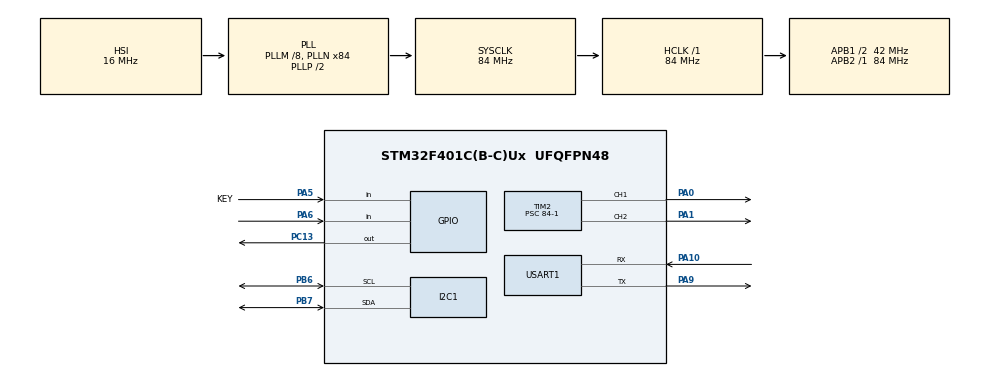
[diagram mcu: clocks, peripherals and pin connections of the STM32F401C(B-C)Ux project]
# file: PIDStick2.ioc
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Dma.Request0=USART1_RX
Dma.Request1=USART1_TX
Dma.USART1_RX.0.Direction=DMA_PERIPH_TO_MEMORY
Dma.USART1_RX.0.FIFOMode=DMA_FIFOMODE_DISABLE
Dma.USART1_RX.0.Instance=DMA2_Stream2
Dma.USART1_RX.0.MemDataAlignment=DMA_MDATAALIGN_BYTE
Dma.USART1_RX.0.MemInc=DMA_MINC_ENABLE
Dma.USART1_RX.0.Mode=DMA_NORMAL
Dma.USART1_RX.0.PeriphDataAlignment=DMA_PDATAALIGN_BYTE
Dma.USART1_RX.0.PeriphInc=DMA_PINC_DISABLE
Dma.USART1_RX.0.Priority=DMA_PRIORITY_LOW
Dma.USART1_TX.1.Direction=DMA_MEMORY_TO_PERIPH
Dma.USART1_TX.1.FIFOMode=DMA_FIFOMODE_DISABLE
Dma.USART1_TX.1.Instance=DMA2_Stream7
Dma.USART1_TX.1.MemDataAlignment=DMA_MDATAALIGN_BYTE
Dma.USART1_TX.1.MemInc=DMA_MINC_ENABLE
Dma.USART1_TX.1.Mode=DMA_NORMAL
Dma.USART1_TX.1.PeriphDataAlignment=DMA_PDATAALIGN_BYTE
Dma.USART1_TX.1.PeriphInc=DMA_PINC_DISABLE
Dma.USART1_TX.1.Priority=DMA_PRIORITY_LOW
I2C1.I2C_Mode=I2C_Fast
Mcu.Family=STM32F4
Mcu.Name=STM32F401C(B-C)Ux
Mcu.Package=UFQFPN48
NVIC.DMA2_Stream2_IRQn=true\:1\:0\:true\:false\:true\:true\:true\:true
NVIC.DMA2_Stream7_IRQn=true\:1\:0\:true\:false\:true\:true\:true\:true
NVIC.I2C1_ER_IRQn=true\:1\:0\:true\:false\:true\:true\:true\:true
NVIC.I2C1_EV_IRQn=true\:1\:0\:true\:false\:true\:true\:true\:true
NVIC.PriorityGroup=NVIC_PRIORITYGROUP_4
NVIC.TIM5_IRQn=true\:0\:0\:true\:false\:true\:true\:true\:true
NVIC.USART1_IRQn=true\:0\:0\:true\:false\:true\:false\:true\:true
PA0-WKUP.Signal=S_TIM2_CH1_ETR
PA1.Signal=S_TIM2_CH2
PA10.Mode=Asynchronous
PA10.Signal=USART1_RX
PA13.Mode=Serial_Wire
PA13.Signal=SYS_JTMS-SWDIO
PA14.Mode=Serial_Wire
PA14.Signal=SYS_JTCK-SWCLK
PA2.GPIO_Speed=GPIO_SPEED_FREQ_VERY_HIGH
PA2.Signal=S_TIM2_CH3
PA3.GPIO_Speed=GPIO_SPEED_FREQ_VERY_HIGH
PA3.Signal=S_TIM2_CH4
PA5.GPIO_Label=KEY
PA5.GPIO_PuPd=GPIO_PULLUP
PA5.Signal=GPIO_Input
PA6.GPIO_PuPd=GPIO_PULLUP
PA6.Signal=GPIO_Input
PA9.Mode=Asynchronous
PA9.Signal=USART1_TX
PB6.Mode=I2C
PB6.Signal=I2C1_SCL
PB7.Mode=I2C
PB7.Signal=I2C1_SDA
PC13-ANTI_TAMP.GPIO_PuPd=GPIO_PULLUP
PC13-ANTI_TAMP.Signal=GPIO_Output
PH0\ -\ OSC_IN.Mode=HSE-External-Oscillator
PH0\ -\ OSC_IN.Signal=RCC_OSC_IN
PH1\ -\ OSC_OUT.Mode=HSE-External-Oscillator
PH1\ -\ OSC_OUT.Signal=RCC_OSC_OUT
ProjectManager.HeapSize=0x200
ProjectManager.StackSize=0x400
ProjectManager.TargetToolchain=CMake
RCC.48MHZClocksFreq_Value=42000000
RCC.AHBFreq_Value=84000000
RCC.APB1CLKDivider=RCC_HCLK_DIV2
RCC.APB1Freq_Value=42000000
RCC.APB1TimFreq_Value=84000000
RCC.APB2Freq_Value=84000000
RCC.APB2TimFreq_Value=84000000
RCC.CortexFreq_Value=84000000
RCC.HCLKFreq_Value=84000000
RCC.HSE_VALUE=25000000
RCC.HSI_VALUE=16000000
RCC.LSE_VALUE=32768
RCC.PLLM=8
RCC.PLLN=84
RCC.SYSCLKFreq_VALUE=84000000
RCC.SYSCLKSource=RCC_SYSCLKSOURCE_PLLCLK
RCC.VCOOutputFreq_Value=168000000
SH.S_TIM2_CH1_ETR.0=TIM2_CH1,PWM Generation1 CH1
SH.S_TIM2_CH2.0=TIM2_CH2,PWM Generation2 CH2
SH.S_TIM2_CH3.0=TIM2_CH3
SH.S_TIM2_CH4.0=TIM2_CH4
TIM2.Channel-PWM\ Generation1\ CH1=TIM_CHANNEL_1
TIM2.Channel-PWM\ Generation2\ CH2=TIM_CHANNEL_2
TIM2.OCFastMode_PWM-PWM\ Generation1\ CH1=TIM_OCFAST_ENABLE
TIM2.OCFastMode_PWM-PWM\ Generation2\ CH2=TIM_OCFAST_ENABLE
TIM2.Period=256-1
TIM2.Prescaler=84-1
TIM5.AutoReloadPreload=TIM_AUTORELOAD_PRELOAD_ENABLE
TIM5.Period=10000-1
TIM5.Prescaler=84-1
USART1.VirtualMode=VM_ASYNC
VP_TIM2_VS_ClockSourceINT.Mode=Internal
VP_TIM5_VS_ClockSourceINT.Mode=Internal
board=custom

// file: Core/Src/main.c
/* USER CODE BEGIN Header */
/**
 ******************************************************************************
 * @file           : main.c
 * @brief          : Main program body
 ******************************************************************************
 * @attention
 *
 * Copyright (c) 2024 STMicroelectronics.
 * All rights reserved.
 *
 * This software is licensed under terms that can be found in the LICENSE file
 * in the root directory of this software component.
 * If no LICENSE file comes with this software, it is provided AS-IS.
 *
 ******************************************************************************
 */
/* USER CODE END Header */
#include "main.h"
#include "dma.h"
#include "i2c.h"
#include "tim.h"
#include "usart.h"
#include "gpio.h"

/* USER CODE BEGIN Includes */
#include <string.h>
#include "stdio.h"
// #include "tgmath.h"
#include <math.h>
#include "motion/motion_types.h"
#include "motion/EKF.h"
#include "drv8833.h"
#include "mpu6500/mpu6500_fun.h"
#include "key.h"
/* USER CODE END Includes */

/* USER CODE BEGIN PTD */
extern DMA_HandleTypeDef hdma_usart1_rx;
extern DMA_HandleTypeDef hdma_usart1_tx;

struct __pid
{
    float Dst;
    float kp, ki, kd;
    float duty_of_pid;
    float err0;    // �??????????????????????????????????????初误差，用来计算变积�??????????????????????????????????????
    float err[3];  // 储存�??????????????????????????????????????近三个误�??????????????????????????????????????
    uint8_t ep;    // 指针指向�??????????????????????????????????????近误�??????????????????????????????????????
    uint8_t state; // 状�?�量，判断是否有之前误差（为了处理前两次数据处理�??????????????????????????????????????0
    float integral;
} pid;
/* USER CODE END PTD */

/* USER CODE BEGIN PD */
#define duty_of_G 147 // 和重力平衡的功率绝对值，可以考虑初始化时候测�??????????????????????????????????????
#define outMax 256    // 总输出绝对�?�达到该值，只累加正/负积�??????????????????????????????????????
#define errorThres 16 // 角度误差在此以内积分系数�??????????????????????????????????????1，超出则变积�??????????????????????????????????????
#define DST 90        // 默认角度
#define KP 1.0     // 默认PID
#define KI 0.005
#define KD 165
#define ON 1 // 状�?�量
#define OFF 0
// #define WILLON 3/启动状�??
// #define WILLONDUTY 50//启动占空�??????????????????????????
// #define REPEATCOUNT 10//启动时段持续周期�??????????????????????????10ms*repeatcount
#define WILLOFF 2     // 准备躺下阶段
#define OFFANGLE1 30   // 第一躺下稳定角度
#define OFFANGLE2 5//第二躺下角度
#define WAITTIME 800 // 延时等待时间
#define Integral_limit 30

#define IN1_CH TIM_CHANNEL_1
// 变积分，防止积分超调
// 增量型，适用于指令变�??????????????????????????????????????
// 抗积分饱和？
/* USER CODE END PD */

/* USER CODE BEGIN PV */
sensor_accel_fifo_s accel_fifo;
sensor_gyro_fifo_s gyro_fifo;
float angle[3];
uint8_t controlNum = 0;       // 用于时序控制
float forwardduty = 0;        // 前馈
float sumduty = 0;            // 前馈与PID反馈的和
float param1, param2, param3; // 暂存�??????????????????????????�??????????????????????????增加的PID三�?�的�??????????????????????????
char received[12];
float g=duty_of_G;

// 积分限制
float integral_limit = Integral_limit;

uint8_t state = OFF; // 关闭状�??

uint8_t ifdelay = 0; // 是否延时

uint8_t KeyCode = 0; // 按键部分

float tempDst = DST; // 关闭时�?�暂存目标角�????????,在串口�?�讯中调用完uodateDst后赋值同样的�????????
float tempkd = KD;
/* USER CODE END PV */

void SystemClock_Config(void);
/* USER CODE BEGIN PFP */

// 打印
void printang()
{
    char angle_str[100];
    snprintf(angle_str, 100, "Roll:%d duty:%d\n P:%d I:%d D:%d im:%d", (int)angle[0], (int)sumduty, (int)(pid.kp * 100), (int)(pid.ki * 10000), (int)(pid.kd),(int)(pid.integral*10000));
    HAL_UART_Transmit_DMA(&huart1, (uint8_t *)angle_str, strlen(angle_str));
    __HAL_DMA_DISABLE_IT(&hdma_usart1_tx, DMA_IT_HT);
}

void PID_init()
{
    pid.kp = KP;
    pid.ki = KI;
    pid.kd = KD;
    pid.Dst = DST;
    pid.duty_of_pid = 0;
    pid.err0 = 0; // 用于存储上一次的误差
    pid.integral = 0; // 初始化积分项
}

void PID_reinit() {
    pid.Dst = tempDst;
    pid.duty_of_pid = 0;
    pid.kp=KP;
    pid.kd = tempkd;
    pid.err0 = 0; // 重置上一次误�????????
    pid.integral = 0; // 重置积分�????????
    g=duty_of_G;
}

void PID_update()
{
    // 计算误差
    float err = pid.Dst - angle[0];

    // 位置式PID计算
    float p = pid.kp * err;

    pid.integral += err;
    // if(err<=errorThres&&err>=-errorThres) {
    //     integral_limit =Integral_limit;
    // }else {
    //     integral_limit = 30;
    // }
    if (pid.integral * pid.ki > integral_limit && pid.ki > 0)
    {
        pid.integral = integral_limit / pid.ki;
    }
    else if (pid.integral * pid.ki < -integral_limit && pid.ki > 0)
    {
        pid.integral = -integral_limit / pid.ki;
    }

    float i = pid.ki * pid.integral;
    float d = pid.kd * (err - pid.err0);
    pid.err0 = err; // 更新误差

    // 计算PID输出
    pid.duty_of_pid = p + i + d;
    // 前馈控制
    forwardduty = cos(angle[0] * M_PI / 180.0) * g;

    // 计算总输�????????
    sumduty = forwardduty + pid.duty_of_pid;
    // if (sumduty>outMax)
    // {
    //   sumduty = outMax;
    // }
    // else if (sumduty<-outMax)
    // {
    //     sumduty = -outMax;
    // }

    // if(pid.Dst<=90&&sumduty<=0) {
    //
    //     sumduty = 0;
    // }

}

void PID_shutdown()
{
    pid.duty_of_pid = 0;
    DRV8833_Control(0);
} // 刹停，测试用

void PID_updateDst(uint8_t dst)
{
    pid.Dst = dst;
} // 更新目标

// �??????????????????????????有的流程控制放在这，通过计数器控制，尽量多用封装函数
void HAL_TIM_PeriodElapsedCallback(TIM_HandleTypeDef *htim)
{
    if (htim == &htim5)
    {
        if (controlNum >= 0 && controlNum <= 35)
        {
            mpu6500_run();
        }

        if (controlNum >= 15)
        {
            fusion_update(&accel_fifo, &gyro_fifo, angle);

            if (state == ON || state == WILLOFF)
            {
                PID_update();
                DRV8833_Control(sumduty);
                if (state == WILLOFF&&ifdelay==0)
                {
                    if (pid.err[pid.ep] >= -2)
                    {
                       // 准备延时在主循环关闭
                        ifdelay = 1;
                   }
                }
            }
        }
        else
        {
            fusion_cali(&gyro_fifo);
        }

        // 串口打印控制
        if (controlNum <= 34)
        {
            controlNum++;
        }
        else if (controlNum == 35)
        {
            controlNum = 15;
            printang();
        }
        KEY_Scan();
        KeyCode = KEY_FIFO_Get();
        if (KeyCode == KEY_UP_K1)
        {
            // WILL阶段不可�??????????????????????????
            if (state == OFF)
            {
                HAL_GPIO_WritePin(GPIOC, GPIO_PIN_13, GPIO_PIN_RESET); // 点亮示意
                state = ON;
            }
            else if (state == ON)
            {
                // HAL_GPIO_WritePin(GPIOC,GPIO_PIN_13,GPIO_PIN_SET);//关闭示意
                state = WILLOFF;
                pid.kd=160;
                PID_updateDst(OFFANGLE1);//不更新暂存目标�??
            }
        }
    }
}

void HAL_UARTEx_RxEventCallback(UART_HandleTypeDef *huart, uint16_t Size)
{
    if (huart == &huart1)
    {

        // 由于数组只有前四个元素可能有内容，所以这里直接读取前四个字符
        if (received[0] == '\0' || received[1] == '\0')
            return; // 确保至少有两个字�??????????

        char type = received[0]; // 获取第一个字符，用于判断类型
        char numberStr[5];       // 创建�??????????个大小为5的缓冲区来存储数字部分（包括null终止符）

        // 由于只有前四个字符可能有内容，直接复制第二个到第四个字符到numberStr
        // 第一个字符是类型标识，不包含在数字中
        int i;
        for (i = 1; i < 4 && received[i] != '\0'; ++i)
        {
            numberStr[i - 1] = received[i];
        }
        numberStr[i - 1] = '\0'; // 确保字符串以null结尾

        long value = strtol(numberStr, NULL, 10); // 转换字符串为长整�??????????

        switch (type)
        {
        case 'P':
        case 'p':
            pid.kp = (float)value / 100;
            // printf("Variable P updated to: %f\n", pid.kp);
            break;
        case 'I':
        case 'i':
            pid.ki = (float)value / 10000;
            // printf("Variable I updated to: %f\n", pid.ki);
            break;
        case 'D':
        case 'd':
            pid.kd = (float)value;
            tempkd = (float)value;
            // printf("Variable D updated to: %f\n", pid.kd);
            break;
        case 'W':
        case 'w':
            //sumduty = (float)value;

            PID_updateDst(value);
            tempDst=value;
            // printf("Variable W updated to: %f\n", sumduty);
            break;
        default:
            // 无效的输入类�??????????
            break;
        }

    }
    memset(received, 0, sizeof(received));
    // 重新启动DMA接收
    HAL_UARTEx_ReceiveToIdle_DMA(&huart1, received, sizeof(received));
    __HAL_DMA_DISABLE_IT(&hdma_usart1_rx, DMA_IT_HT);
    __HAL_DMA_DISABLE_IT(&hdma_usart1_tx, DMA_IT_HT);
}
/* USER CODE END PFP */

int main(void)
{

  /* MCU Configuration--------------------------------------------------------*/

  /* Reset of all peripherals, Initializes the Flash interface and the Systick. */
  HAL_Init();

  /* Configure the system clock */
  SystemClock_Config();

  /* Initialize all configured peripherals */
  MX_GPIO_Init();
  MX_DMA_Init();
  MX_TIM2_Init();
  MX_TIM5_Init();
  MX_I2C1_Init();
  MX_USART1_UART_Init();
  /* USER CODE BEGIN 2 */
    HAL_Delay(500);
    HAL_GPIO_TogglePin(GPIOC, GPIO_PIN_13);
    // �??????????????????????????螺仪
    mpu6500_init(&hi2c1, &htim5, &accel_fifo, &gyro_fifo);

    fusion_init();
    HAL_Delay(400);
    HAL_GPIO_TogglePin(GPIOC, GPIO_PIN_13);

    // pwm
    DRV8833_Init();
    KEY_Init();
    HAL_TIM_Base_Start_IT(&htim5);
    //   //初始化PID
    PID_init();
    HAL_Delay(500);

     HAL_GPIO_TogglePin(GPIOC, GPIO_PIN_13);

    // 测试
    HAL_UARTEx_ReceiveToIdle_DMA(&huart1, received, sizeof(received));
    __HAL_DMA_DISABLE_IT(&hdma_usart1_rx, DMA_IT_HT);
    __HAL_DMA_DISABLE_IT(&hdma_usart1_tx, DMA_IT_HT);
    HAL_Delay(300);
    HAL_GPIO_TogglePin(GPIOC, GPIO_PIN_13);
    HAL_Delay(500);
    HAL_GPIO_TogglePin(GPIOC, GPIO_PIN_13);
  /* USER CODE END 2 */

  /* Infinite loop */
  /* USER CODE BEGIN WHILE */
    while (1)
    {

        if (ifdelay == 1)
        {
            HAL_Delay(2000);
            PID_updateDst(OFFANGLE2);
            pid.kp=1.2;
            g=135;
            ifdelay = 2;
            HAL_Delay(2000);

            // HAL_UARTEx_ReceiveToIdle_DMA(&huart1, received, sizeof(received));
            // __HAL_DMA_DISABLE_IT(&hdma_usart1_rx, DMA_IT_HT);
            // __HAL_DMA_DISABLE_IT(&hdma_usart1_tx, DMA_IT_HT);
        }
        if (ifdelay == 2&&pid.err[pid.ep] >= 0) {

            state = OFF;
            motor1__Coast();
            //motor2__Coast();
            HAL_GPIO_WritePin(GPIOC, GPIO_PIN_13, GPIO_PIN_SET); // 关闭示意
            PID_reinit();//恢复之前设置的目标�?�和部分初始�????????
            ifdelay = 0;
        }
    /* USER CODE END WHILE */

    }
}

void SystemClock_Config(void)
{
  RCC_OscInitTypeDef RCC_OscInitStruct = {0};
  RCC_ClkInitTypeDef RCC_ClkInitStruct = {0};

  /** Configure the main internal regulator output voltage
  */
  __HAL_RCC_PWR_CLK_ENABLE();
  __HAL_PWR_VOLTAGESCALING_CONFIG(PWR_REGULATOR_VOLTAGE_SCALE2);

  /** Initializes the RCC Oscillators according to the specified parameters
  * in the RCC_OscInitTypeDef structure.
  */
  RCC_OscInitStruct.OscillatorType = RCC_OSCILLATORTYPE_HSI;
  RCC_OscInitStruct.HSIState = RCC_HSI_ON;
  RCC_OscInitStruct.HSICalibrationValue = RCC_HSICALIBRATION_DEFAULT;
  RCC_OscInitStruct.PLL.PLLState = RCC_PLL_ON;
  RCC_OscInitStruct.PLL.PLLSource = RCC_PLLSOURCE_HSI;
  RCC_OscInitStruct.PLL.PLLM = 8;
  RCC_OscInitStruct.PLL.PLLN = 84;
  RCC_OscInitStruct.PLL.PLLP = RCC_PLLP_DIV2;
  RCC_OscInitStruct.PLL.PLLQ = 4;
  if (HAL_RCC_OscConfig(&RCC_OscInitStruct) != HAL_OK)
  {
    Error_Handler();
  }

  /** Initializes the CPU, AHB and APB buses clocks
  */
  RCC_ClkInitStruct.ClockType = RCC_CLOCKTYPE_HCLK|RCC_CLOCKTYPE_SYSCLK
                              |RCC_CLOCKTYPE_PCLK1|RCC_CLOCKTYPE_PCLK2;
  RCC_ClkInitStruct.SYSCLKSource = RCC_SYSCLKSOURCE_PLLCLK;
  RCC_ClkInitStruct.AHBCLKDivider = RCC_SYSCLK_DIV1;
  RCC_ClkInitStruct.APB1CLKDivider = RCC_HCLK_DIV2;
  RCC_ClkInitStruct.APB2CLKDivider = RCC_HCLK_DIV1;

  if (HAL_RCC_ClockConfig(&RCC_ClkInitStruct, FLASH_LATENCY_2) != HAL_OK)
  {
    Error_Handler();
  }
}

void Error_Handler(void)
{
    __disable_irq();
    while (1)
    {
    }
}
